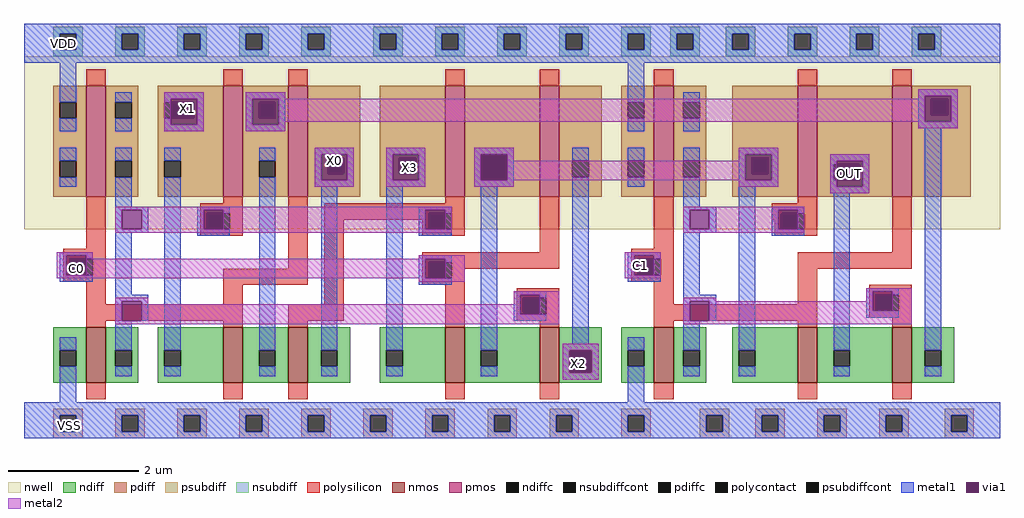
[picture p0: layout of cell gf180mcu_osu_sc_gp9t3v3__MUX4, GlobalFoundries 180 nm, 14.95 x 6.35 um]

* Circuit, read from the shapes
.subckt gf180mcu_osu_sc_gp9t3v3__MUX4 C0 C1 OUT VDD VSS X0 X1 X2 X3
XM1 n1 C0 VSS VSS nfet_03v3 w=0.85u l=0.3u
XM2 n2 C0 X1 VSS nfet_03v3 w=0.85u l=0.3u
XM3 X0 n1 n2 VSS nfet_03v3 w=0.85u l=0.3u
XM4 n3 C0 X3 VSS nfet_03v3 w=0.85u l=0.3u
XM5 X2 n1 n3 VSS nfet_03v3 w=0.85u l=0.3u
XM6 n4 C1 VSS VSS nfet_03v3 w=0.85u l=0.3u
XM7 OUT C1 n3 VSS nfet_03v3 w=0.85u l=0.3u
XM8 n2 n4 OUT VSS nfet_03v3 w=0.85u l=0.3u
XM9 n1 C0 VDD n5 pfet_03v3 w=1.7u l=0.3u
XM10 n2 n1 X1 n5 pfet_03v3 w=1.7u l=0.3u
XM11 X0 C0 n2 n5 pfet_03v3 w=1.7u l=0.3u
XM12 n3 n1 X3 n5 pfet_03v3 w=1.7u l=0.3u
XM13 X2 C0 n3 n5 pfet_03v3 w=1.7u l=0.3u
XM14 n4 C1 VDD n5 pfet_03v3 w=1.7u l=0.3u
XM15 OUT n4 n3 n5 pfet_03v3 w=1.7u l=0.3u
XM16 n2 C1 OUT n5 pfet_03v3 w=1.7u l=0.3u
.ends

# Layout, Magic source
magic
tech gf180mcuD
<< nwell >>
rect -16 43 283 96
<< nmos >>
rect 3 -4 9 13
rect 45 -4 51 13
rect 65 -4 71 13
rect 113 -4 119 13
rect 142 -4 148 13
rect 177 -4 183 13
rect 221 -4 227 13
rect 250 -4 256 13
<< pmos >>
rect 3 53 9 87
rect 45 53 51 87
rect 65 53 71 87
rect 113 53 119 87
rect 142 53 148 87
rect 177 53 183 87
rect 221 53 227 87
rect 250 53 256 87
<< ndiff >>
rect -7 6 3 13
rect -7 1 -5 6
rect 0 1 3 6
rect -7 -4 3 1
rect 9 6 19 13
rect 9 1 12 6
rect 17 1 19 6
rect 9 -4 19 1
rect 25 6 45 13
rect 25 1 27 6
rect 32 1 45 6
rect 25 -4 45 1
rect 51 6 65 13
rect 51 1 56 6
rect 61 1 65 6
rect 51 -4 65 1
rect 71 6 84 13
rect 71 1 75 6
rect 80 1 84 6
rect 71 -4 84 1
rect 93 6 113 13
rect 93 1 95 6
rect 100 1 113 6
rect 93 -4 113 1
rect 119 6 142 13
rect 119 1 124 6
rect 129 1 142 6
rect 119 -4 142 1
rect 148 6 161 13
rect 148 -1 151 6
rect 158 -1 161 6
rect 148 -4 161 -1
rect 167 6 177 13
rect 167 1 169 6
rect 174 1 177 6
rect 167 -4 177 1
rect 183 6 193 13
rect 183 1 186 6
rect 191 1 193 6
rect 183 -4 193 1
rect 201 6 221 13
rect 201 1 203 6
rect 208 1 221 6
rect 201 -4 221 1
rect 227 6 250 13
rect 227 1 232 6
rect 237 1 250 6
rect 227 -4 250 1
rect 256 6 269 13
rect 256 1 260 6
rect 265 1 269 6
rect 256 -4 269 1
<< pdiff >>
rect -7 82 3 87
rect -7 77 -5 82
rect 0 77 3 82
rect -7 64 3 77
rect -7 59 -5 64
rect 0 59 3 64
rect -7 53 3 59
rect 9 82 19 87
rect 9 77 12 82
rect 17 77 19 82
rect 9 64 19 77
rect 9 59 12 64
rect 17 59 19 64
rect 9 53 19 59
rect 25 82 45 87
rect 25 77 27 82
rect 36 77 45 82
rect 25 64 45 77
rect 25 59 27 64
rect 32 59 45 64
rect 25 53 45 59
rect 51 82 65 87
rect 51 77 56 82
rect 61 77 65 82
rect 51 64 65 77
rect 51 59 56 64
rect 61 59 65 64
rect 51 53 65 59
rect 71 65 87 87
rect 71 60 77 65
rect 82 60 87 65
rect 71 53 87 60
rect 93 65 113 87
rect 93 60 99 65
rect 104 60 113 65
rect 93 53 113 60
rect 119 66 142 87
rect 119 58 124 66
rect 132 58 142 66
rect 119 53 142 58
rect 148 64 161 87
rect 148 59 152 64
rect 157 59 161 64
rect 148 53 161 59
rect 167 82 177 87
rect 167 77 169 82
rect 174 77 177 82
rect 167 64 177 77
rect 167 59 169 64
rect 174 59 177 64
rect 167 53 177 59
rect 183 82 193 87
rect 183 77 186 82
rect 191 77 193 82
rect 183 64 193 77
rect 183 59 186 64
rect 191 59 193 64
rect 183 53 193 59
rect 201 65 221 87
rect 201 60 207 65
rect 212 60 221 65
rect 201 53 221 60
rect 227 63 250 87
rect 227 58 232 63
rect 240 58 250 63
rect 227 53 250 58
rect 256 83 274 87
rect 256 78 262 83
rect 267 78 274 83
rect 256 53 274 78
<< ndiffc >>
rect -5 1 0 6
rect 12 1 17 6
rect 27 1 32 6
rect 56 1 61 6
rect 75 1 80 6
rect 95 1 100 6
rect 124 1 129 6
rect 151 -1 158 6
rect 169 1 174 6
rect 186 1 191 6
rect 203 1 208 6
rect 232 1 237 6
rect 260 1 265 6
<< pdiffc >>
rect -5 77 0 82
rect -5 59 0 64
rect 12 77 17 82
rect 12 59 17 64
rect 27 77 36 82
rect 27 59 32 64
rect 56 77 61 82
rect 56 59 61 64
rect 77 60 82 65
rect 99 60 104 65
rect 124 58 132 66
rect 152 59 157 64
rect 169 77 174 82
rect 169 59 174 64
rect 186 77 191 82
rect 186 59 191 64
rect 207 60 212 65
rect 232 58 240 63
rect 262 78 267 83
<< psubdiff >>
rect -7 -14 2 -12
rect -7 -19 -5 -14
rect 0 -19 2 -14
rect -7 -21 2 -19
rect 12 -14 21 -12
rect 12 -19 14 -14
rect 19 -19 21 -14
rect 12 -21 21 -19
rect 31 -14 40 -12
rect 31 -19 33 -14
rect 38 -19 40 -14
rect 31 -21 40 -19
rect 50 -14 59 -12
rect 50 -19 52 -14
rect 57 -19 59 -14
rect 50 -21 59 -19
rect 69 -14 78 -12
rect 69 -19 71 -14
rect 76 -19 78 -14
rect 69 -21 78 -19
rect 88 -14 97 -12
rect 88 -19 90 -14
rect 95 -19 97 -14
rect 88 -21 97 -19
rect 107 -14 116 -12
rect 107 -19 109 -14
rect 114 -19 116 -14
rect 107 -21 116 -19
rect 126 -14 135 -12
rect 126 -19 128 -14
rect 133 -19 135 -14
rect 126 -21 135 -19
rect 145 -14 154 -12
rect 145 -19 147 -14
rect 152 -19 154 -14
rect 145 -21 154 -19
rect 167 -14 176 -12
rect 167 -19 169 -14
rect 174 -19 176 -14
rect 167 -21 176 -19
rect 191 -14 200 -12
rect 191 -19 193 -14
rect 198 -19 200 -14
rect 191 -21 200 -19
rect 208 -14 217 -12
rect 208 -19 210 -14
rect 215 -19 217 -14
rect 208 -21 217 -19
rect 227 -14 236 -12
rect 227 -19 229 -14
rect 234 -19 236 -14
rect 227 -21 236 -19
rect 246 -14 255 -12
rect 246 -19 248 -14
rect 253 -19 255 -14
rect 246 -21 255 -19
rect 266 -14 275 -12
rect 266 -19 268 -14
rect 273 -19 275 -14
rect 266 -21 275 -19
<< nsubdiff >>
rect -7 103 2 105
rect -7 98 -5 103
rect 0 98 2 103
rect -7 96 2 98
rect 12 103 21 105
rect 12 98 14 103
rect 19 98 21 103
rect 12 96 21 98
rect 31 103 40 105
rect 31 98 33 103
rect 38 98 40 103
rect 31 96 40 98
rect 50 103 59 105
rect 50 98 52 103
rect 57 98 59 103
rect 50 96 59 98
rect 69 103 78 105
rect 69 98 71 103
rect 76 98 78 103
rect 69 96 78 98
rect 91 103 100 105
rect 91 98 93 103
rect 98 98 100 103
rect 91 96 100 98
rect 110 103 119 105
rect 110 98 112 103
rect 117 98 119 103
rect 110 96 119 98
rect 129 103 138 105
rect 129 98 131 103
rect 136 98 138 103
rect 129 96 138 98
rect 148 103 157 105
rect 148 98 150 103
rect 155 98 157 103
rect 148 96 157 98
rect 167 103 176 105
rect 167 98 169 103
rect 174 98 176 103
rect 167 96 176 98
rect 182 103 191 105
rect 182 98 184 103
rect 189 98 191 103
rect 182 96 191 98
rect 199 103 208 105
rect 199 98 201 103
rect 206 98 208 103
rect 199 96 208 98
rect 218 103 227 105
rect 218 98 220 103
rect 225 98 227 103
rect 218 96 227 98
rect 237 103 246 105
rect 237 98 239 103
rect 244 98 246 103
rect 237 96 246 98
rect 256 103 265 105
rect 256 98 258 103
rect 263 98 265 103
rect 256 96 265 98
<< psubdiffcont >>
rect -5 -19 0 -14
rect 14 -19 19 -14
rect 33 -19 38 -14
rect 52 -19 57 -14
rect 71 -19 76 -14
rect 90 -19 95 -14
rect 109 -19 114 -14
rect 128 -19 133 -14
rect 147 -19 152 -14
rect 169 -19 174 -14
rect 193 -19 198 -14
rect 210 -19 215 -14
rect 229 -19 234 -14
rect 248 -19 253 -14
rect 268 -19 273 -14
<< nsubdiffcont >>
rect -5 98 0 103
rect 14 98 19 103
rect 33 98 38 103
rect 52 98 57 103
rect 71 98 76 103
rect 93 98 98 103
rect 112 98 117 103
rect 131 98 136 103
rect 150 98 155 103
rect 169 98 174 103
rect 184 98 189 103
rect 201 98 206 103
rect 220 98 225 103
rect 239 98 244 103
rect 258 98 263 103
<< polysilicon >>
rect 3 87 9 92
rect 45 87 51 92
rect 65 87 71 92
rect 113 87 119 92
rect 142 87 148 92
rect 177 87 183 92
rect 221 87 227 92
rect 250 87 256 92
rect 3 37 9 53
rect 45 51 51 53
rect 38 48 51 51
rect 38 43 40 48
rect 47 43 51 48
rect 38 41 51 43
rect -4 34 9 37
rect -4 29 -2 34
rect 5 29 9 34
rect 65 31 71 53
rect 113 51 119 53
rect -4 27 9 29
rect 3 20 9 27
rect 45 26 71 31
rect 76 48 119 51
rect 76 46 108 48
rect 45 20 51 26
rect 76 20 82 46
rect 106 43 108 46
rect 115 43 119 48
rect 106 41 119 43
rect 142 36 148 53
rect 177 37 183 53
rect 221 51 227 53
rect 213 48 227 51
rect 213 46 216 48
rect 214 43 216 46
rect 223 43 227 48
rect 214 41 227 43
rect 106 33 148 36
rect 106 28 108 33
rect 115 31 148 33
rect 170 34 183 37
rect 250 36 256 53
rect 115 28 119 31
rect 106 26 119 28
rect 170 29 172 34
rect 179 29 183 34
rect 170 27 183 29
rect 3 15 51 20
rect 3 13 9 15
rect 45 13 51 15
rect 65 15 82 20
rect 65 13 71 15
rect 113 13 119 26
rect 135 22 148 25
rect 135 17 137 22
rect 144 17 148 22
rect 135 15 148 17
rect 142 13 148 15
rect 177 20 183 27
rect 221 31 256 36
rect 221 20 227 31
rect 177 15 227 20
rect 243 23 256 26
rect 243 18 245 23
rect 252 18 256 23
rect 243 16 256 18
rect 177 13 183 15
rect 221 13 227 15
rect 250 13 256 16
rect 3 -9 9 -4
rect 45 -9 51 -4
rect 65 -9 71 -4
rect 113 -9 119 -4
rect 142 -9 148 -4
rect 177 -9 183 -4
rect 221 -9 227 -4
rect 250 -9 256 -4
<< polycontact >>
rect 40 43 47 48
rect -2 29 5 34
rect 108 43 115 48
rect 216 43 223 48
rect 108 28 115 33
rect 172 29 179 34
rect 137 17 144 22
rect 245 18 252 23
<< metal1 >>
rect -16 103 283 106
rect -16 98 -5 103
rect 0 98 14 103
rect 19 98 33 103
rect 38 98 52 103
rect 57 98 71 103
rect 76 98 93 103
rect 98 98 112 103
rect 117 98 131 103
rect 136 98 150 103
rect 155 98 169 103
rect 174 98 184 103
rect 189 98 201 103
rect 206 98 220 103
rect 225 98 239 103
rect 244 98 258 103
rect 263 98 283 103
rect -16 94 283 98
rect -5 82 0 94
rect -5 73 0 77
rect 12 82 17 85
rect 12 73 17 77
rect 27 83 39 85
rect 27 82 29 83
rect 27 75 29 77
rect 37 75 39 83
rect 27 73 39 75
rect 52 83 64 85
rect 52 75 54 83
rect 62 75 64 83
rect 52 73 64 75
rect 169 82 174 94
rect 169 73 174 77
rect 186 82 191 85
rect 186 73 191 77
rect 258 84 270 86
rect 258 76 260 84
rect 268 76 270 84
rect 258 74 270 76
rect -5 64 0 68
rect -5 56 0 59
rect 12 64 17 68
rect 12 50 17 59
rect 27 64 32 68
rect 12 49 22 50
rect 12 43 14 49
rect 20 43 22 49
rect 12 42 22 43
rect -5 35 5 36
rect -5 29 -3 35
rect 3 34 5 35
rect -5 27 5 29
rect 12 23 17 42
rect 12 21 22 23
rect 12 15 14 21
rect 20 15 22 21
rect -5 6 0 10
rect -5 -10 0 1
rect 12 6 17 15
rect 12 -2 17 1
rect 27 6 32 59
rect 56 64 61 68
rect 37 49 47 50
rect 37 43 39 49
rect 45 48 47 49
rect 37 41 47 43
rect 27 -2 32 1
rect 56 6 61 59
rect 73 66 85 68
rect 73 58 75 66
rect 83 58 85 66
rect 73 56 85 58
rect 95 66 107 68
rect 95 58 97 66
rect 105 58 107 66
rect 95 56 107 58
rect 122 66 134 68
rect 122 58 124 66
rect 132 58 134 66
rect 122 56 134 58
rect 152 64 157 68
rect 56 -2 61 1
rect 75 6 80 56
rect 75 -2 80 1
rect 95 6 100 56
rect 105 49 115 50
rect 105 43 107 49
rect 113 48 115 49
rect 105 41 115 43
rect 105 34 115 35
rect 105 28 107 34
rect 113 33 115 34
rect 105 26 115 28
rect 95 -2 100 1
rect 124 6 129 56
rect 134 23 144 24
rect 134 17 136 23
rect 142 22 144 23
rect 134 15 144 17
rect 152 8 157 59
rect 169 64 174 68
rect 169 56 174 59
rect 186 64 191 68
rect 186 50 191 59
rect 203 66 215 68
rect 203 58 205 66
rect 213 58 215 66
rect 203 56 215 58
rect 231 64 243 66
rect 231 63 233 64
rect 231 58 232 63
rect 231 56 233 58
rect 241 56 243 64
rect 186 49 196 50
rect 186 43 188 49
rect 194 43 196 49
rect 186 42 196 43
rect 169 35 179 36
rect 169 29 171 35
rect 177 34 179 35
rect 169 27 179 29
rect 186 23 191 42
rect 186 21 196 23
rect 186 15 188 21
rect 194 15 196 21
rect 124 -2 129 1
rect 149 6 160 8
rect 149 -1 151 6
rect 158 -1 160 6
rect 149 -3 160 -1
rect 169 6 174 10
rect 169 -10 174 1
rect 186 6 191 15
rect 186 -2 191 1
rect 203 6 208 56
rect 231 54 243 56
rect 213 49 223 50
rect 213 43 215 49
rect 221 48 223 49
rect 213 41 223 43
rect 203 -2 208 1
rect 232 6 237 54
rect 242 24 252 25
rect 242 18 244 24
rect 250 23 252 24
rect 242 16 252 18
rect 232 -2 237 1
rect 260 6 265 74
rect 260 -2 265 1
rect -16 -14 283 -10
rect -16 -19 -5 -14
rect 0 -19 14 -14
rect 19 -19 33 -14
rect 38 -19 52 -14
rect 57 -19 71 -14
rect 76 -19 90 -14
rect 95 -19 109 -14
rect 114 -19 128 -14
rect 133 -19 147 -14
rect 152 -19 169 -14
rect 174 -19 193 -14
rect 198 -19 210 -14
rect 215 -19 229 -14
rect 234 -19 248 -14
rect 253 -19 268 -14
rect 273 -19 283 -14
rect -16 -21 283 -19
<< via1 >>
rect 29 82 37 83
rect 29 77 36 82
rect 36 77 37 82
rect 29 75 37 77
rect 54 82 62 83
rect 54 77 56 82
rect 56 77 61 82
rect 61 77 62 82
rect 54 75 62 77
rect 260 83 268 84
rect 260 78 262 83
rect 262 78 267 83
rect 267 78 268 83
rect 260 76 268 78
rect 14 43 20 49
rect -3 34 3 35
rect -3 29 -2 34
rect -2 29 3 34
rect 14 15 20 21
rect 39 48 45 49
rect 39 43 40 48
rect 40 43 45 48
rect 75 65 83 66
rect 75 60 77 65
rect 77 60 82 65
rect 82 60 83 65
rect 75 58 83 60
rect 97 65 105 66
rect 97 60 99 65
rect 99 60 104 65
rect 104 60 105 65
rect 97 58 105 60
rect 124 58 132 66
rect 107 48 113 49
rect 107 43 108 48
rect 108 43 113 48
rect 107 33 113 34
rect 107 28 108 33
rect 108 28 113 33
rect 136 22 142 23
rect 136 17 137 22
rect 137 17 142 22
rect 205 65 213 66
rect 205 60 207 65
rect 207 60 212 65
rect 212 60 213 65
rect 205 58 213 60
rect 233 63 241 64
rect 233 58 240 63
rect 240 58 241 63
rect 233 56 241 58
rect 188 43 194 49
rect 171 34 177 35
rect 171 29 172 34
rect 172 29 177 34
rect 188 15 194 21
rect 151 -1 158 6
rect 215 48 221 49
rect 215 43 216 48
rect 216 43 221 48
rect 244 23 250 24
rect 244 18 245 23
rect 245 18 250 23
<< metal2 >>
rect 27 83 39 85
rect 27 75 29 83
rect 37 75 39 83
rect 27 73 39 75
rect 52 83 64 85
rect 258 84 270 86
rect 258 83 260 84
rect 52 75 54 83
rect 62 76 260 83
rect 268 76 270 84
rect 62 75 64 76
rect 52 73 64 75
rect 258 74 270 76
rect 73 66 85 68
rect 73 58 75 66
rect 83 58 85 66
rect 73 56 85 58
rect 95 66 107 68
rect 95 58 97 66
rect 105 58 107 66
rect 95 56 107 58
rect 122 66 134 68
rect 122 58 124 66
rect 132 64 134 66
rect 203 66 215 68
rect 203 64 205 66
rect 132 58 205 64
rect 213 58 215 66
rect 122 56 134 58
rect 203 56 215 58
rect 231 64 243 66
rect 231 56 233 64
rect 241 56 243 64
rect 231 54 243 56
rect 12 49 115 50
rect 12 43 14 49
rect 20 43 39 49
rect 45 43 107 49
rect 113 43 115 49
rect 12 42 115 43
rect 186 49 223 50
rect 186 43 188 49
rect 194 43 215 49
rect 221 43 223 49
rect 186 42 223 43
rect -6 35 5 36
rect 168 35 179 36
rect -6 29 -3 35
rect 3 34 5 35
rect 105 34 119 35
rect 3 29 107 34
rect -6 28 107 29
rect 113 28 119 34
rect 168 29 171 35
rect 177 29 179 35
rect 168 28 179 29
rect 105 27 119 28
rect 242 24 256 25
rect 134 23 148 24
rect 12 21 22 22
rect 12 15 14 21
rect 20 20 22 21
rect 134 20 136 23
rect 20 17 136 20
rect 142 17 148 23
rect 20 15 148 17
rect 12 14 148 15
rect 186 21 196 22
rect 242 21 244 24
rect 186 15 188 21
rect 194 18 244 21
rect 250 18 256 24
rect 194 15 256 18
rect 186 14 256 15
rect 149 6 160 8
rect 149 -1 151 6
rect 158 -1 160 6
rect 149 -3 160 -1
<< labels >>
rlabel nsubdiffcont -4 100 -4 100 1 VDD
rlabel psubdiffcont -2 -17 -2 -17 5 VSS
rlabel via1 0 31 0 31 7 C0
rlabel via1 34 80 34 80 7 X1
rlabel via1 79 64 79 64 7 X0
rlabel via1 102 62 102 62 0 X3
rlabel via1 154 2 154 2 0 X2
rlabel via1 173 32 173 32 3 C1
rlabel via1 237 60 237 60 3 OUT
<< end >>
